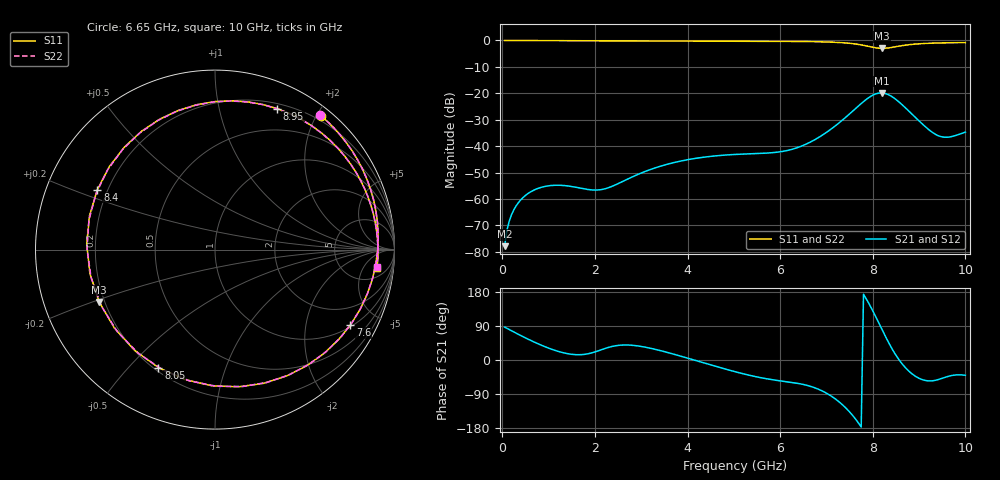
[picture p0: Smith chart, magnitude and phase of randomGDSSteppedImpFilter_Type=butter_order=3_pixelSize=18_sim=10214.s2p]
! freq	dB(S11)	phase(S11)	dB(S12)	phase(S12)
!  dB(S21)	phase(S21)	dB(S22)	phase(S22)
!S-par simulation data
#  GHz  S  DB  R 50
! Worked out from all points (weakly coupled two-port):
!   200 points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, 50 MHz to 10 GHz, reference 50 ohm
!   highest |S21| = -19.88 dB at 8.2 GHz (marker M1); lowest = -77.8 dB at 50 MHz (marker M2)
!   lowest |S11| = -3.0 dB at 8.2 GHz (marker M3), VSWR 5.85, Z = 8.93 - j10.4 ohm
!   |S11| at or under -10 dB: nowhere
!   |S22| runs from -3.0 to 0.0 dB; largest |S21 - S12| = 0
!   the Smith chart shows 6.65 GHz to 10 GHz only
!   S11 on the Smith chart (normalised r, x): 6.65 GHz: 0.13, +2.06; 7.6 GHz: 1.07, -3.55; 8.05 GHz: 0.22, -0.61; 8.4 GHz: 0.16, +0.23; 8.95 GHz: 0.25, +1.50; 10 GHz: 9, -10
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0.05  -0.00 -3.3  -77.84 86.8  -77.84 86.8  -0.00 -3.3
0.2  -0.02 -13.0  -65.92 77.1  -65.92 77.1  -0.02 -13.0
0.55  -0.05 -35.3  -57.98 55.4  -57.98 55.4  -0.05 -35.3
1.15  -0.08 -71.0  -54.79 24.9  -54.79 24.9  -0.08 -71.0
1.75  -0.11 -102.6  -56.10 14.5  -56.10 14.5  -0.11 -102.6
2.6  -0.14 -141.0  -53.35 39.5  -53.35 39.5  -0.14 -141.0
3.4  -0.16 -172.6  -47.66 25.2  -47.66 25.2  -0.16 -172.6
5.05  -0.24 125.3  -43.11 -31.7  -43.11 -31.7  -0.24 125.4
5.9  -0.31 89.8  -42.35 -53.3  -42.35 -53.3  -0.31 89.9
6.65  -0.44 51.6  -38.48 -69.3  -38.48 -69.3  -0.43 51.9
6.7  -0.45 48.6  -38.02 -71.3  -38.02 -71.3  -0.45 48.9
7.25  -0.75 9.0  -31.51 -108.1  -31.51 -108.1  -0.74 9.6
7.6  -1.27 -29.1  -26.22 -151.5  -26.22 -151.5  -1.26 -28.0
7.85  -2.02 -70.1  -22.43 163.4  -22.43 163.4  -1.99 -68.4
8.05  -2.74 -115.6  -20.32 117.8  -20.32 117.8  -2.73 -113.5
8.2  -3.00 -155.7  -19.88 80.3  -19.88 80.3  -3.01 -153.5
8.35  -2.80 165.0  -20.62 44.1  -20.62 44.1  -2.84 166.8
8.4  -2.67 153.0  -21.10 33.0  -21.10 33.0  -2.70 154.7
8.65  -1.92 104.7  -24.58 -12.5  -24.58 -12.5  -1.95 105.6
8.95  -1.33 66.3  -29.62 -45.1  -29.62 -45.1  -1.34 66.7
9.45  -0.93 25.2  -36.27 -50.3  -36.27 -50.3  -0.94 25.4
10  -0.83 -6.3  -34.69 -40.2  -34.69 -40.2  -0.83 -6.3
